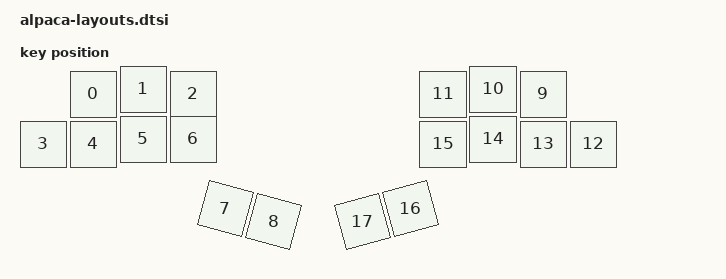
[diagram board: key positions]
#include <physical_layouts.dtsi>

/ {
    physical_layout_alpaca: physical_layout_alpaca {
        compatible = "zmk,physical-layout";
        display-name = "alpaca";
        keys  //                     w   h    x    y     rot    rx    ry
            = <&key_physical_attrs 100 100  100   10       0     0     0>
            , <&key_physical_attrs 100 100  200    0       0     0     0>
            , <&key_physical_attrs 100 100  300   10       0     0     0>
            , <&key_physical_attrs 100 100    0  110       0     0     0>
            , <&key_physical_attrs 100 100  100  110       0     0     0>
            , <&key_physical_attrs 100 100  200  100       0     0     0>
            , <&key_physical_attrs 100 100  300  100       0     0     0>
            , <&key_physical_attrs 100 100  350  250    1500   450   350>
            , <&key_physical_attrs 100 100  450  250    1500   450   350>
            , <&key_physical_attrs 100 100 1000   10       0     0     0>
            , <&key_physical_attrs 100 100  900    0       0     0     0>
            , <&key_physical_attrs 100 100  800   10       0     0     0>
            , <&key_physical_attrs 100 100 1100  110       0     0     0>
            , <&key_physical_attrs 100 100 1000  110       0     0     0>
            , <&key_physical_attrs 100 100  900  100       0     0     0>
            , <&key_physical_attrs 100 100  800  110       0     0     0>
            , <&key_physical_attrs 100 100  750  250 (-1500)   750   350>
            , <&key_physical_attrs 100 100  650  250 (-1500)   750   350>
            ;
    };
};
